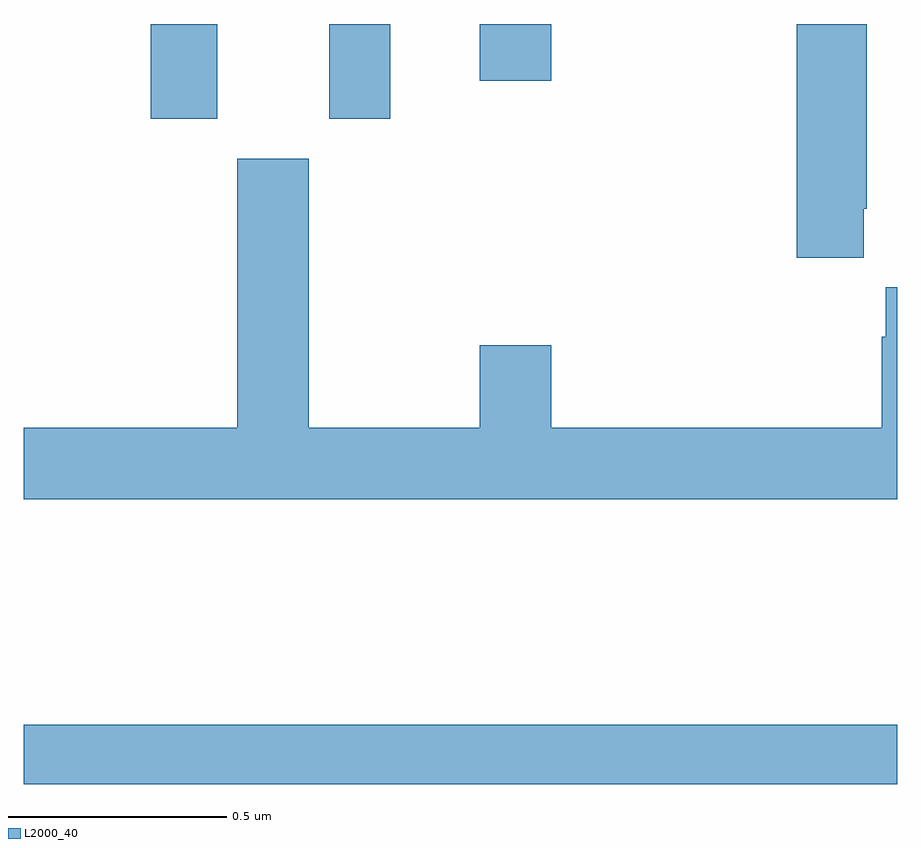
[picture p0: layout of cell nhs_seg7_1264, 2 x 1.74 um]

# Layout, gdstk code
import gdstk
lib = gdstk.Library(unit=1e-6, precision=1e-09)
def R(c, l, rs):  # rectangles x0, y0, x1, y1
    for r in rs: c.add(gdstk.rectangle(r[:2], r[2:], *l))
def P(c, l, *ps):  # polygons
    for p in ps: c.add(gdstk.Polygon(p, *l))
L2000_40 = (2000, 40)

nhs_seg7_1264 = lib.new_cell('nhs_seg7_1264')
R(nhs_seg7_1264, L2000_40, [(128,1037.26,130,1037.396), (128.291,1038.783,128.443,1039), (128.699,1038.783,128.839,1039), (129.044,1038.87,129.208,1039)])
P(nhs_seg7_1264, L2000_40, [(129.923,1038.577),(129.93,1038.577),(129.93,1039),(129.77,1039),(129.77,1038.465),(129.923,1038.465)],
  [(130,1038.397),(129.974,1038.397),(129.974,1038.284),(129.965,1038.284),(129.965,1038.076),(129.208,1038.076),(129.208,1038.265),(129.044,1038.265),(129.044,1038.076),(128.653,1038.076),(128.653,1038.691),(128.489,1038.691),(128.489,1038.076),(128,1038.076),(128,1037.912),(130,1037.912)])

lib.write_gds('nhs_seg7_1264.gds')
